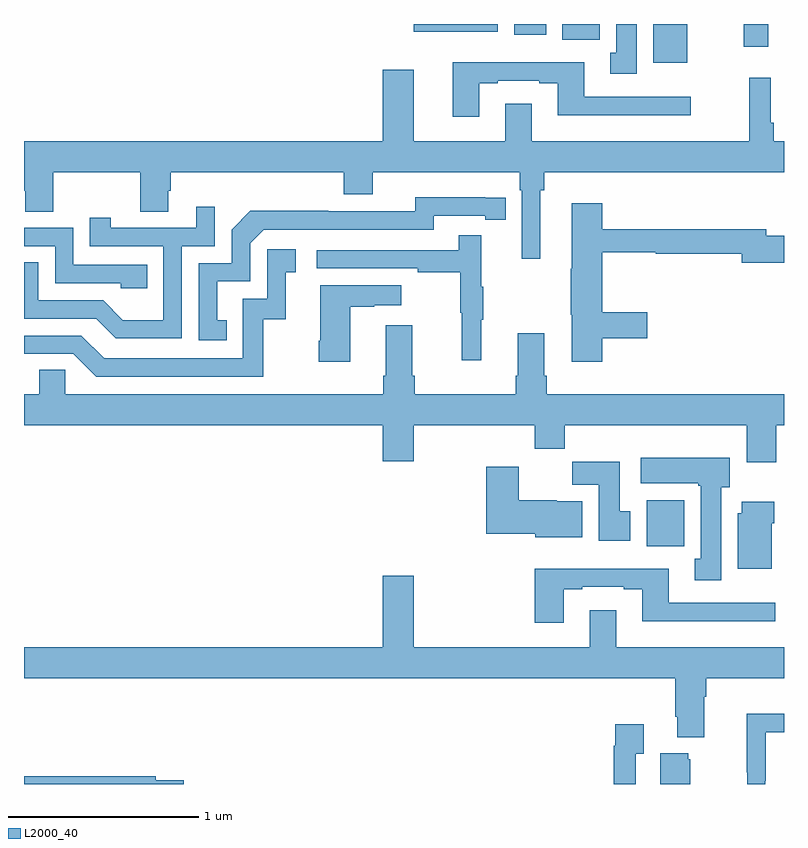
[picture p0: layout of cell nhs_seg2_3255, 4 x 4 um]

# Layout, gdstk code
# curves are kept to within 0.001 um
import gdstk
lib = gdstk.Library(unit=1e-6, precision=1e-09)
def R(c, l, rs):  # rectangles x0, y0, x1, y1
    for r in rs: c.add(gdstk.rectangle(r[:2], r[2:], *l))
def P(c, l, *ps):  # polygons
    for p in ps: c.add(gdstk.Polygon(p, *l))
L2000_40 = (2000, 40)

nhs_seg2_3255 = lib.new_cell('nhs_seg2_3255')
R(nhs_seg2_3255, L2000_40, [(286.277,595.052,286.474,595.294), (286.313,597.596,286.492,597.8), (286.789,597.681,286.918,597.8), (285.833,597.716,286.03,597.8), (285.581,597.744,285.748,597.8), (285.05,597.758,285.493,597.8)])
P(nhs_seg2_3255, L2000_40, [(286.225,597.8),(286.118,597.8),(286.118,597.65),(286.085,597.65),(286.085,597.537),(286.225,597.537)],
  [(285.397,597.489),(285.493,597.489),(285.493,597.501),(285.713,597.501),(285.713,597.489),(285.809,597.489),(285.809,597.32),(286.51,597.32),(286.51,597.417),(285.949,597.417),(285.949,597.598),(285.257,597.598),(285.257,597.312),(285.397,597.312)],
  [(285.718,596.924),(285.737,596.924),(285.737,597.02),(287,597.02),(287,597.184),(286.946,597.184),(286.946,597.28),(286.931,597.28),(286.931,597.517),(286.818,597.517),(286.818,597.184),(285.673,597.184),(285.673,597.379),(285.533,597.379),(285.533,597.184),(285.052,597.184),(285.052,597.559),(284.888,597.559),(284.888,597.184),(283,597.184),(283,596.922),(283.007,596.922),(283.007,596.812),(283.155,596.812),(283.155,597.02),(283.612,597.02),(283.612,596.812),(283.759,596.812),(283.759,596.922),(283.772,596.922),(283.772,597.02),(284.684,597.02),(284.684,596.903),(284.836,596.903),(284.836,597.02),(285.608,597.02),(285.608,596.924),(285.621,596.924),(285.621,596.565),(285.718,596.565)],
  [(284.066,596.241),(284.017,596.241),(284.017,596.445),(284.19,596.445),(284.19,596.646),(284.262,596.718),(285.156,596.718),(285.156,596.79),(285.428,596.79),(285.428,596.77),(285.536,596.77),(285.536,596.886),(285.06,596.887),(285.06,596.814),(284.6,596.814),(284.6,596.816),(284.192,596.816),(284.094,596.718),(284.094,596.541),(283.92,596.541),(283.92,596.136),(284.066,596.136)],
  [(286.043,596.146),(286.279,596.146),(286.279,596.283),(286.043,596.283),(286.043,596.598),(286.326,596.598),(286.326,596.59),(286.778,596.59),(286.778,596.543),(287,596.543),(287,596.685),(286.906,596.685),(286.906,596.719),(286.043,596.719),(286.043,596.857),(285.884,596.857),(285.884,596.513),(285.877,596.513),(285.877,596.271),(285.884,596.271),(285.884,596.022),(286.043,596.022)],
  [(283.83,596.631),(284.004,596.631),(284.004,596.839),(283.907,596.839),(283.907,596.727),(283.456,596.727),(283.456,596.779),(283.345,596.779),(283.345,596.631),(283.734,596.631),(283.734,596.242),(283.52,596.242),(283.416,596.346),(283.074,596.346),(283.074,596.545),(283,596.545),(283,596.25),(283.379,596.25),(283.484,596.145),(283.83,596.145)],
  [(283.649,596.532),(283.26,596.532),(283.26,596.727),(283,596.727),(283,596.631),(283.164,596.631),(283.164,596.436),(283.509,596.436),(283.509,596.409),(283.649,596.409)],
  [(285.407,596.243),(285.418,596.243),(285.418,596.417),(285.407,596.417),(285.407,596.689),(285.289,596.689),(285.289,596.61),(284.541,596.61),(284.541,596.514),(285.073,596.514),(285.073,596.494),(285.297,596.494),(285.297,596.28),(285.304,596.28),(285.304,596.031),(285.407,596.031)],
  [(284.26,596.247),(284.378,596.247),(284.378,596.493),(284.431,596.493),(284.431,596.614),(284.28,596.614),(284.28,596.355),(284.151,596.355),(284.151,596.04),(283.422,596.04),(283.302,596.16),(283,596.16),(283,596.064),(283.26,596.064),(283.38,595.944),(284.26,595.944)],
  [(284.716,596.311),(284.843,596.311),(284.843,596.321),(284.986,596.321),(284.986,596.425),(284.558,596.425),(284.558,596.134),(284.551,596.134),(284.551,596.022),(284.716,596.022)],
  [(286.958,595.688),(287,595.688),(287,595.852),(285.752,595.852),(285.752,595.948),(285.739,595.948),(285.739,596.173),(285.599,596.173),(285.599,595.948),(285.587,595.948),(285.587,595.852),(285.056,595.852),(285.056,595.948),(285.043,595.948),(285.043,596.215),(284.903,596.215),(284.903,595.948),(284.891,595.948),(284.891,595.852),(283.218,595.852),(283.218,595.979),(283.079,595.979),(283.079,595.852),(283,595.852),(283,595.688),(284.888,595.688),(284.888,595.5),(285.052,595.5),(285.052,595.688),(285.689,595.688),(285.689,595.564),(285.845,595.564),(285.845,595.688),(286.805,595.688),(286.805,595.494),(286.958,595.494)],
  [(286.669,595.362),(286.714,595.362),(286.714,595.516),(286.245,595.516),(286.245,595.382),(286.549,595.382),(286.549,595.369),(286.562,595.369),(286.562,594.986),(286.529,594.986),(286.529,594.873),(286.669,594.873)],
  [(286.192,595.236),(286.135,595.236),(286.135,595.495),(285.886,595.495),(285.886,595.376),(286.025,595.376),(286.025,595.08),(286.192,595.08)],
  [(285.937,595.288),(285.804,595.288),(285.804,595.294),(285.604,595.294),(285.604,595.471),(285.434,595.471),(285.434,595.118),(285.69,595.118),(285.69,595.1),(285.937,595.1)],
  [(286.936,595.172),(286.949,595.172),(286.949,595.285),(286.778,595.285),(286.778,595.224),(286.757,595.224),(286.757,594.932),(286.936,594.932)],
  [(285.841,594.825),(285.937,594.825),(285.937,594.837),(286.157,594.837),(286.157,594.825),(286.253,594.825),(286.253,594.656),(286.954,594.656),(286.954,594.753),(286.393,594.753),(286.393,594.934),(285.689,594.934),(285.689,594.648),(285.841,594.648)],
  [(286.579,594.26),(286.592,594.26),(286.592,594.356),(287,594.356),(287,594.52),(286.117,594.52),(286.117,594.715),(285.977,594.715),(285.977,594.52),(285.052,594.52),(285.052,594.895),(284.888,594.895),(284.888,594.52),(283,594.52),(283,594.356),(286.427,594.356),(286.427,594.154),(286.439,594.154),(286.439,594.047),(286.579,594.047)],
  [(286.902,593.818),(286.903,593.818),(286.903,594.072),(287,594.072),(287,594.17),(286.804,594.17),(286.804,593.863),(286.806,593.863),(286.806,593.8),(286.902,593.8)],
  [(286.221,593.959),(286.261,593.959),(286.261,594.115),(286.113,594.115),(286.113,594.002),(286.105,594.002),(286.105,593.8),(286.221,593.8)],
  [(286.507,593.931),(286.496,593.931),(286.496,593.962),(286.349,593.962),(286.349,593.8),(286.507,593.8)],
  [(283.841,593.82),(283.694,593.82),(283.694,593.84),(283,593.84),(283,593.8),(283.841,593.8)])

lib.write_gds('nhs_seg2_3255.gds')
